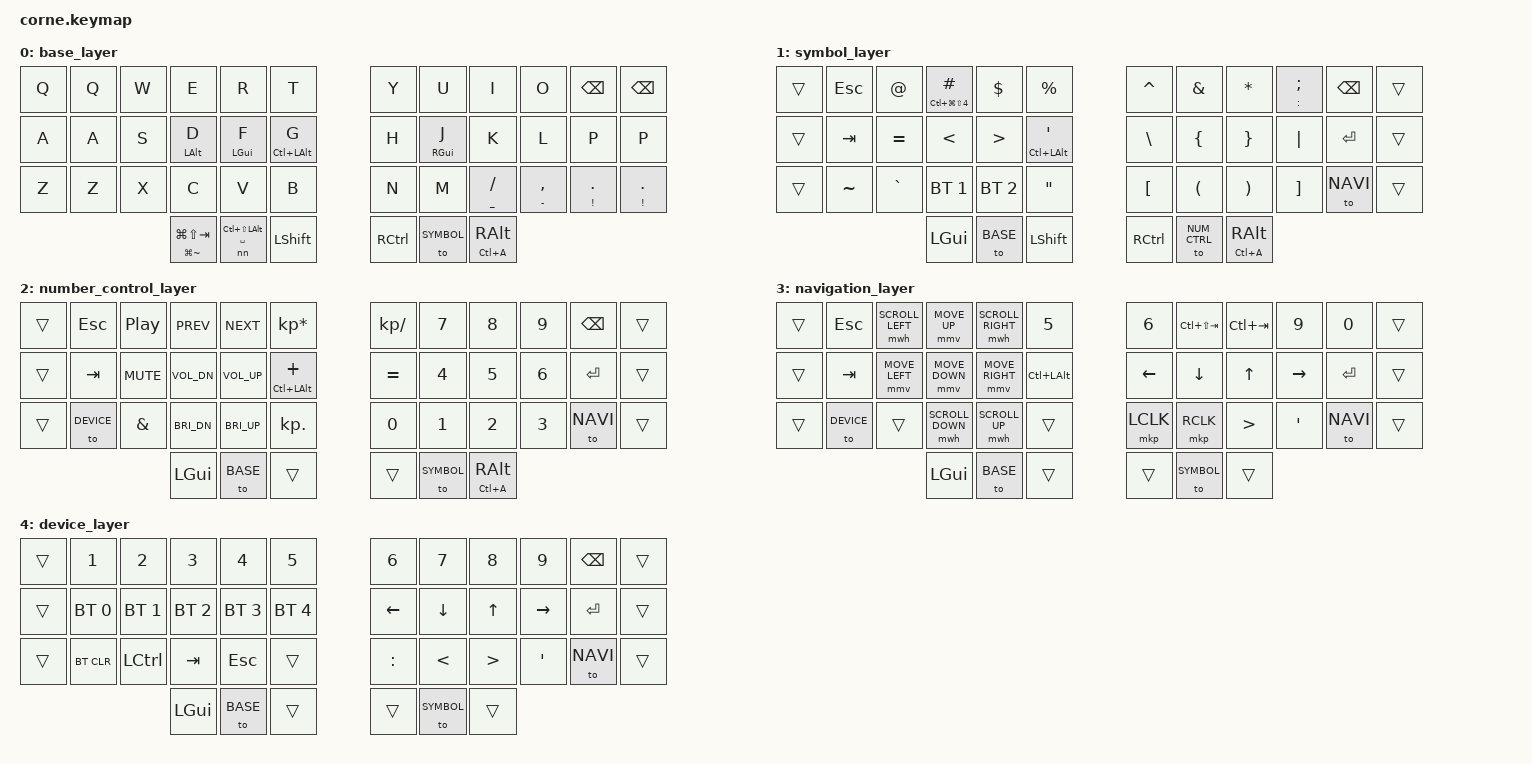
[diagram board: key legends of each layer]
/*
 * Copyright (c) 2020 The ZMK Contributors
 *
 * SPDX-License-Identifier: MIT
 */

#include <behaviors.dtsi>
#include <dt-bindings/zmk/keys.h>
#include <dt-bindings/zmk/bt.h>
#include <dt-bindings/zmk/mouse.h>

#define BASE 0
#define SYMBOL 1
#define NUM_CTRL 2
#define NAVI 3
#define DEVICE 4
#define TMUX_LEAD LC(A)


/ {
        behaviors {
                hm: homerow_mods {
                    compatible = "zmk,behavior-hold-tap";
                    label = "HOMEROW_MODS";
                    #binding-cells = <2>;
                    tapping-term-ms = <200>;
                    quick_tap_ms = <0>;
                    flavor = "tap-preferred";
                    bindings = <&kp>, <&kp>;
                };
	        td: tap_dance {
                    compatible = "zmk,behavior-hold-tap";
                    label = "TAPDANCE";
                    #binding-cells = <2>;
                    tapping-term-ms = <150>;
                    quick_tap_ms = <0>;
                    flavor = "tap-preferred";
                    bindings = <&kp>, <&kp>;
                };
        };
        keymap {
                compatible = "zmk,keymap";

                base_layer {
                // -----------------------------------------------------------------------------------------
                // |    Q   |   W   |   E   |     R    |   T   |       |  Y    |       U       |     I   |    O   |  BKSP  | 
                // |    A   |   S   |   D   |     F    |   G   |       |  H    |       J       |     K   |    L   |    P   |
                // |    Z   |   X   |   C   |     V    |   B   |       |  N    |       M       |   /(_)? |  ,(-)  |  .(!)  |
                // | CMD+LSHFT+TAB (CMD+~)  | SPC(MEH) | LSHFT |       | RCTRL | SYMBOL_LAYER  | CMG+TAB |
                bindings = <
                &kp Q  &kp Q  &kp W  &kp E                     &kp R         &kp T            &kp Y      &kp U        &kp I           &kp O            &kp BKSP       &kp BKSP      
                &kp A  &kp A  &kp S  &hm LALT D                &hm LGUI F    &td LC(LALT) G   &kp H      &hm RGUI J   &kp K           &kp L            &kp P          &kp P       
                &kp Z  &kp Z  &kp X  &kp C                     &kp V         &kp B            &kp N      &kp M        &td UNDER FSLH  &td MINUS COMMA  &td EXCL DOT   &td EXCL DOT   
                              &td LG(TILDE) LG(LS(TAB)) &nn LC(LS(LALT)) SPC &kp LSHFT        &kp RCTRL  &to SYMBOL   &td LC(A) RALT
                >;
                };

                symbol_layer {
                // -----------------------------------------------------------------------------------------
                // | ESC |  @  |  #(screenshot)  |   $  |   %   |       |   ^   |     &     |    *  |  ;(:) |  BKSP  |
                // | TAB |  =  |       <         |   >  |   '   |       |   \   |     {     |    }  |  "|"  |  ENTER |
                // |  ~  |  `  |       BT1       |  BT2 |   "   |       |   [   |     (     |    )  |   ]   |  NAVI  |
                //                         | GUI | BASE | LSHFT |       | RCTRL |  NUM_CTRL |  RALT |
                bindings = <
                   &trans   &kp ESC    &kp AT      &td LC(LG(LS(N4))) HASH &kp DLLR      &kp PRCNT             &kp CARET  &kp AMPS      &kp ASTRK  &td COLON SEMI  &kp BKSP     &trans
                   &trans   &kp TAB    &kp EQUAL   &kp LT                  &kp GT        &td LC(LALT) SQT      &kp BSLH   &kp LBRC      &kp RBRC   &kp PIPE        &kp ENTER    &trans
                   &trans   &kp TILDE  &kp GRAVE   &bt BT_SEL 1            &bt BT_SEL 2  &kp DQT               &kp LBKT   &kp LPAR      &kp RPAR   &kp RBKT        &to NAVI     &trans
                                                   &kp LGUI                &to BASE      &kp LSHFT             &kp RCTRL  &to NUM_CTRL  &td LC(A) RALT
                >;
                };

                number_control_layer {
                // -----------------------------------------------------------------------------------------
                // |  ESC   | Play/Pause |  PREV  |  NEXT  |   *   |       |   /  |  7  |  8  |  9  | BKSP  |
                // |  TAB   |     MUTE   | VOL_DN | VOL_UP |   +   |       |   =  |  4  |  5  |  6  | ENTER |
                // | DEVICE |      &     | BRI_DN | BRI_UP |   .   |       |   0  |  1  |  2  |  3  | NAVI  |
                //                       |   GUI  |  BASE  | LSHFT |       | CTRL | SYMBOL | ALT |
                                        bindings = <
                   &trans   &kp ESC     &kp C_PP     &kp C_PREV    &kp C_NEXT     &kp KP_MULTIPLY      &kp KP_DIVIDE  &kp N7       &kp N8   &kp N9  &kp BKSP    &trans
                   &trans   &kp TAB     &kp K_MUTE   &kp C_VOL_DN  &kp C_VOL_UP   &td LC(LALT) PLUS    &kp EQUAL      &kp N4       &kp N5   &kp N6  &kp ENTER   &trans
                   &trans   &to DEVICE  &kp AMPS     &kp C_BRI_DN  &kp C_BRI_UP   &kp KP_DOT           &kp N0         &kp N1       &kp N2   &kp N3  &to NAVI    &trans
                                                     &kp LGUI      &to BASE       &trans               &trans         &to SYMBOL   &td LC(A) RALT
                >;
                };

                navigation_layer {
                        // TODO: Update the Navigation layer with mouse code

                // -----------------------------------------------------------------------------------------
                // |      |  1  |  2   |   3  |  4    |    5     |       |  6   | PREV_TAB | NEXT_TAB |  9  | BKSP  |   |
                // |      | SHFT| CTRL | LALT |  CMD  | CTRL+OPT |       | LFT  |    DWN   |    UP    | RGT | ENTER |   |
                // | BTCLR| BT1 | BT2  |  BT3 |  BT4  |    BT5   |       |  :   |     <    |    >     |  '  | NAVI  |   |
                //                     |  GUI |  BASE |   LSHFT  |       | CTRL |  SYMBOL | ALT |
                bindings = <
                    &trans    &kp ESC     &mwh SCROLL_LEFT  &mmv MOVE_UP     &mwh SCROLL_RIGHT  &kp N5          &kp N6       &kp LC(LS(TAB))     &kp LC(TAB)    &kp N9    &kp N0     &trans
                    &trans    &kp TAB     &mmv MOVE_LEFT    &mmv MOVE_DOWN   &mmv MOVE_RIGHT    &kp LC(LALT)    &kp LEFT     &kp DOWN            &kp UP         &kp RIGHT   &kp ENTER    &trans
                    &trans    &to DEVICE  &trans            &mwh SCROLL_DOWN  &mwh SCROLL_UP    &trans          &mkp LCLK    &mkp RCLK           &kp GT         &kp APOS    &to NAVI     &trans
                                                            &kp LGUI          &to BASE          &trans          &trans       &to SYMBOL          &trans
                >;
                };
                
                device_layer {

                // -----------------------------------------------------------------------------------------
                // |  1     |  2   |  3  |  4   |  5    |       |  6   |    7   |  8  |  9  | BKSP  |
                // | BT_CLR | CTRL | TAB | ESC  |       |       | LFT  |   DWN  |  UP | RGT | ENTER |
                // |  BT1   | BT2  | BT3 | BT4  | BT5   |       |  :   |    <   |  >  |  '  | NAVI  |
                //                 | GUI | BASE | LSHFT |       | CTRL | SYMBOL | ALT |
                bindings = <
                    &trans   &kp N1        &kp N2       &kp N3       &kp N4       &kp N5           &kp N6      &kp N7       &kp N8   &kp N9      &kp BKSP      &trans 
                    &trans   &bt BT_SEL 0  &bt BT_SEL 1 &bt BT_SEL 2 &bt BT_SEL 3 &bt BT_SEL 4     &kp LEFT    &kp DOWN     &kp UP   &kp RIGHT   &kp ENTER     &trans
                    &trans   &bt BT_CLR    &kp LCTRL    &kp TAB      &kp ESC      &trans           &kp COLON   &kp LT       &kp GT   &kp APOS    &to NAVI      &trans
                                                        &kp LGUI     &to BASE     &trans           &trans      &to SYMBOL   &trans
                >;
                };
        };
};
